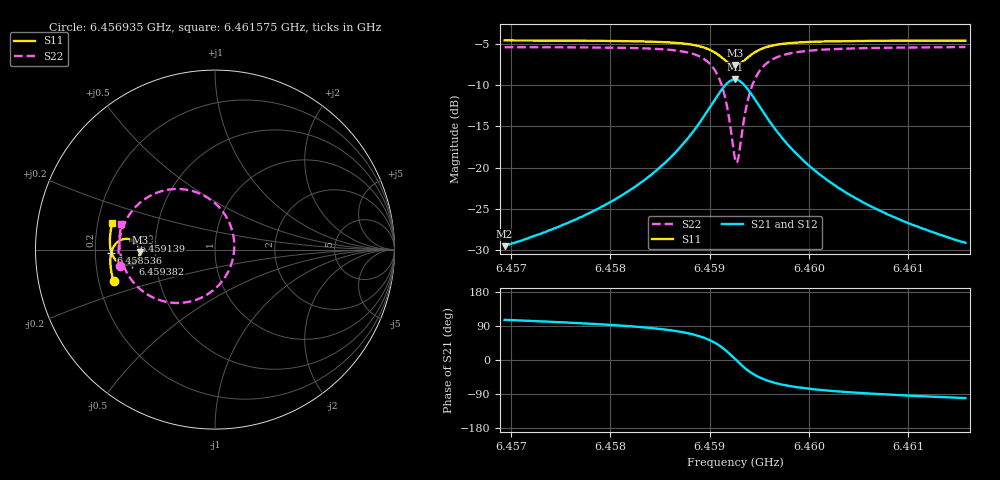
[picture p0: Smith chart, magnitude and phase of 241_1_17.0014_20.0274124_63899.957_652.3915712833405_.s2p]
#  HZ  S  RI  R  50.00
! Rohde & Schwarz Vector Network Analyzer
! Rohde-Schwarz,ZNB20-2Port,1311601062101988,3.16
! Created: UTC 3/20/2024, 11:02:52 PM
! freq[Hz]  re:S11  im:S11  re:S21  im:S21  re:S12  im:S12  re:S22  im:S22
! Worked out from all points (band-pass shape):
!   401 points, 6.456935 GHz to 6.461575 GHz, reference 50 ohm
!   highest |S21| = -9.29 dB at 6.459255 GHz (marker M1); lowest = -29.5 dB at 6.456935 GHz (marker M2)
!   |S21| within 3 dB of the highest: 6.459022 GHz to 6.459487 GHz (464.5 kHz wide, 0.00719 % of centre)
!   lowest |S11| = -7.6 dB at 6.459255 GHz (marker M3), VSWR 2.44, Z = 20.5 - j0.624 ohm
!   |S11| at or under -10 dB: nowhere
!   |S22| runs from -19.4 to -5.3 dB; largest |S21 - S12| = 0.013
!   S11 on the Smith chart (normalised r, x): 6.456935 GHz: 0.26, -0.14; 6.458536 GHz: 0.27, -0.01; 6.459139 GHz: 0.37, +0.05; 6.459382 GHz: 0.37, -0.07; 6.461575 GHz: 0.26, +0.12
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6.4569347e9  -0.5653 -0.1764  -0.00911 0.0321  -0.00751 0.0322  -0.5308 -0.0925
6.4577119e9  -0.5799 -0.1087  -0.006 0.0499  -0.0035 0.0496  -0.5374 -0.00191
6.458118e9  -0.5832 -0.0684  -0.00074 0.0681  0.00255 0.0668  -0.5309 0.0614
6.4584892e9  -0.5796 -0.0244  0.0133 0.0982  0.0174 0.0956  -0.5054 0.1436
6.4585356e9  -0.5783 -0.0181  0.0167 0.1036  0.0207 0.1007  -0.4993 0.1569
6.4587444e9  -0.5663 0.0137  0.0426 0.1354  0.0467 0.1306  -0.4509 0.2286
6.4588952e9  -0.5451 0.0401  0.0848 0.1656  0.0884 0.1593  -0.373 0.2931
6.459046e9  -0.4992 0.0598  0.1764 0.1849  0.1773 0.1778  -0.2062 0.3377
6.4591388e9  -0.4549 0.05  0.2657 0.1543  0.2661 0.1484  -0.0404 0.2886
6.4591852e9  -0.4339 0.0312  0.3093 0.1119  0.3107 0.1067  0.0424 0.2131
6.4592548e9  -0.419 -0.0126  0.3427 0.0159  0.3463 0.00898  0.1075 0.0349
6.4592664e9  -0.4195 -0.0205  0.3424 -0.00201  0.3463 -0.00933  0.1072 0.00168
6.4592896e9  -0.423 -0.036  0.3371 -0.0364  0.3409 -0.0452  0.0966 -0.0636
6.4593824e9  -0.4603 -0.078  0.2677 -0.1367  0.2668 -0.1496  -0.0437 -0.2506
6.4594288e9  -0.4828 -0.0847  0.2236 -0.1591  0.2199 -0.172  -0.1319 -0.2877
6.4594868e9  -0.5077 -0.0841  0.1747 -0.1687  0.1683 -0.1797  -0.2285 -0.2969
6.4596376e9  -0.549 -0.0625  0.092 -0.1529  0.0837 -0.1588  -0.3856 -0.2444
6.4598e9  -0.5693 -0.035  0.0498 -0.1257  0.0423 -0.1283  -0.4614 -0.1737
6.460032e9  -0.5811 -0.00134  0.0226 -0.0963  0.0169 -0.097  -0.506 -0.0965
6.4603684e9  -0.5857 0.0384  0.00706 -0.0704  0.00286 -0.0701  -0.5276 -0.0199
6.4608092e9  -0.5838 0.0827  -0.00115 -0.0515  -0.00406 -0.0506  -0.5326 0.0504
6.4615748e9  -0.5716 0.1504  -0.00636 -0.0343  -0.00805 -0.0334  -0.5216 0.1407
